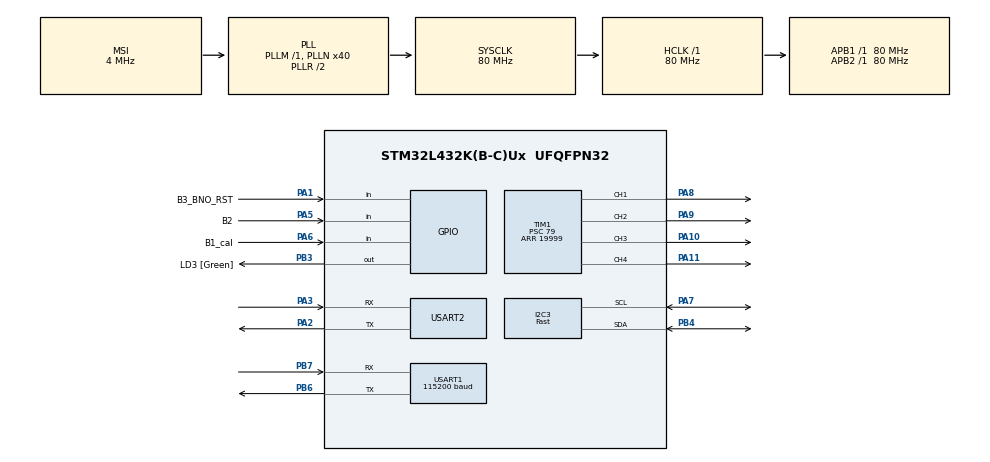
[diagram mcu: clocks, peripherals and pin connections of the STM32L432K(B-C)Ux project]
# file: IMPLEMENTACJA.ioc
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Dma.Request0=USART1_RX
Dma.USART1_RX.0.Direction=DMA_PERIPH_TO_MEMORY
Dma.USART1_RX.0.Instance=DMA1_Channel5
Dma.USART1_RX.0.MemDataAlignment=DMA_MDATAALIGN_BYTE
Dma.USART1_RX.0.MemInc=DMA_MINC_ENABLE
Dma.USART1_RX.0.Mode=DMA_CIRCULAR
Dma.USART1_RX.0.PeriphDataAlignment=DMA_PDATAALIGN_BYTE
Dma.USART1_RX.0.PeriphInc=DMA_PINC_DISABLE
Dma.USART1_RX.0.Priority=DMA_PRIORITY_HIGH
I2C3.I2C_Speed_Mode=I2C_Fast
I2C3.Timing=0x00F12981
Mcu.Family=STM32L4
Mcu.Name=STM32L432K(B-C)Ux
Mcu.Package=UFQFPN32
NVIC.DMA1_Channel5_IRQn=true\:0\:0\:false\:false\:true\:false\:true\:true
NVIC.PriorityGroup=NVIC_PRIORITYGROUP_4
NVIC.TIM6_DAC_IRQn=true\:0\:0\:false\:false\:true\:true\:true\:true
NVIC.USART1_IRQn=true\:0\:0\:false\:false\:true\:true\:true\:true
PA0.GPIO_Label=MCO [High speed clock in]
PA0.Mode=HSE-External-Clock-Source-for-LittleOrca
PA0.Signal=RCC_CK_IN
PA1.GPIO_Label=B3_BNO_RST
PA1.GPIO_PuPd=GPIO_PULLUP
PA1.Signal=GPIO_Input
PA10.Signal=S_TIM1_CH3
PA11.Signal=S_TIM1_CH4
PA13\ (JTMS-SWDIO).GPIO_Label=SWDIO
PA13\ (JTMS-SWDIO).Mode=Serial_Wire
PA13\ (JTMS-SWDIO).Signal=SYS_JTMS-SWDIO
PA14\ (JTCK-SWCLK).GPIO_Label=SWCLK
PA14\ (JTCK-SWCLK).Mode=Serial_Wire
PA14\ (JTCK-SWCLK).Signal=SYS_JTCK-SWCLK
PA2.Mode=Asynchronous
PA2.Signal=USART2_TX
PA3.Mode=Asynchronous
PA3.Signal=USART2_RX
PA5.GPIO_Label=B2
PA5.GPIO_PuPd=GPIO_PULLUP
PA5.Signal=GPIO_Input
PA6.GPIO_Label=B1_cal
PA6.GPIO_PuPd=GPIO_PULLUP
PA6.Signal=GPIO_Input
PA7.Mode=I2C
PA7.Signal=I2C3_SCL
PA8.Signal=S_TIM1_CH1
PA9.Signal=S_TIM1_CH2
PB3\ (JTDO-TRACESWO).GPIO_Label=LD3 [Green]
PB3\ (JTDO-TRACESWO).Signal=GPIO_Output
PB4\ (NJTRST).Mode=I2C
PB4\ (NJTRST).Signal=I2C3_SDA
PB6.Mode=Asynchronous
PB6.Signal=USART1_TX
PB7.Mode=Asynchronous
PB7.Signal=USART1_RX
PC14-OSC32_IN\ (PC14).Mode=LSE-External-Oscillator
PC14-OSC32_IN\ (PC14).Signal=RCC_OSC32_IN
PC15-OSC32_OUT\ (PC15).Mode=LSE-External-Oscillator
PC15-OSC32_OUT\ (PC15).Signal=RCC_OSC32_OUT
ProjectManager.HeapSize=0x200
ProjectManager.StackSize=0x400
ProjectManager.TargetToolchain=STM32CubeIDE
RCC.AHBFreq_Value=80000000
RCC.APB1Freq_Value=80000000
RCC.APB1TimFreq_Value=80000000
RCC.APB2Freq_Value=80000000
RCC.APB2TimFreq_Value=80000000
RCC.CortexFreq_Value=80000000
RCC.HCLKFreq_Value=80000000
RCC.HSE_VALUE=8000000
RCC.HSI16_VALUE=16000000
RCC.HSI48_VALUE=48000000
RCC.HSI_VALUE=16000000
RCC.MSI_VALUE=4000000
RCC.PLLMUL=RCC_PLLMUL_4
RCC.PLLN=40
RCC.SYSCLKFreq_VALUE=80000000
RCC.SYSCLKSource=RCC_SYSCLKSOURCE_PLLCLK
RCC.VCOOutputFreq_Value=160000000
SH.S_TIM1_CH1.0=TIM1_CH1,PWM Generation1 CH1
SH.S_TIM1_CH2.0=TIM1_CH2,PWM Generation2 CH2
SH.S_TIM1_CH3.0=TIM1_CH3,PWM Generation3 CH3
SH.S_TIM1_CH4.0=TIM1_CH4,PWM Generation4 CH4
TIM1.Channel-PWM\ Generation1\ CH1=TIM_CHANNEL_1
TIM1.Channel-PWM\ Generation2\ CH2=TIM_CHANNEL_2
TIM1.Channel-PWM\ Generation3\ CH3=TIM_CHANNEL_3
TIM1.Channel-PWM\ Generation4\ CH4=TIM_CHANNEL_4
TIM1.Period=19999
TIM1.Prescaler=79
TIM1.Pulse-PWM\ Generation1\ CH1=0
TIM1.Pulse-PWM\ Generation2\ CH2=0
TIM1.Pulse-PWM\ Generation3\ CH3=0
TIM6.AutoReloadPreload=TIM_AUTORELOAD_PRELOAD_ENABLE
TIM6.Period=49
TIM6.Prescaler=7999
USART1.BaudRate=115200
USART1.DataInvertParam=ADVFEATURE_DATAINV_DISABLE
USART1.Mode=MODE_RX
USART1.VirtualMode-Asynchronous=VM_ASYNC
USART2.VirtualMode-Asynchronous=VM_ASYNC
VP_TIM1_VS_ClockSourceINT.Mode=Internal
VP_TIM6_VS_ClockSourceINT.Mode=Enable_Timer
board=NUCLEO-L432KC

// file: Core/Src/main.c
/* USER CODE BEGIN Header */
/**
  ******************************************************************************
  * @file           : main.c
  * @brief          : Main program body
  ******************************************************************************
  * @attention
  *
  * Copyright (c) 2025 STMicroelectronics.
  * All rights reserved.
  *
  * This software is licensed under terms that can be found in the LICENSE file
  * in the root directory of this software component.
  * If no LICENSE file comes with this software, it is provided AS-IS.
  *
  ******************************************************************************
  */
/* USER CODE END Header */
#include "main.h"
#include "dma.h"
#include "i2c.h"
#include "tim.h"
#include "usart.h"
#include "gpio.h"

/* USER CODE BEGIN Includes */
#include "motors.h"
#include "ibus.h"
#include "bno055.h"
#include "pid.h"
#include "bno055_stm32.h"
#include <stdio.h>

extern UART_HandleTypeDef huart2;

/* USER CODE END Includes */

/* USER CODE BEGIN PTD */
typedef struct {
    uint16_t roll;
    uint16_t pitch;
    uint16_t throttle;
    uint16_t yaw;
    uint16_t arm;
    uint16_t mode;
} rc_t;
/* USER CODE END PTD */

/* USER CODE BEGIN PV */
volatile uint8_t control_loop_flag = 0; // flaga dla TIM6

volatile rc_t rc;

#define CTRL_DT 0.005f // dt dla pid

#define RC_DEADBAND      0.05f     // 5% drązla
#define MAX_ANGLE_DEG    25.0f     // roll/pitch max z pilota
#define MAX_YAW_RATE_DPS 120.0f    // yaw rate z pilota

// kontrolery pid dla obu osi
static PID_t pid_roll;
static PID_t pid_pitch;

// NASTAWY REGULATORA PID
volatile float dbg_Kp = 4.2;
volatile float dbg_Ki = 0.2;
volatile float dbg_Kd = 0.3;

/* USER CODE END PV */

void SystemClock_Config(void);

/* USER CODE BEGIN 0 */
//podstawowy clampf dla pilota
static inline float clampf(float x, float lo, float hi)
{
    if (x < lo) return lo;
    if (x > hi) return hi;
    return x;
}
// deadband dla pilota - male odchylenia drazka sa ignorowane
static inline float apply_deadband(float x, float db)
{
    if (x > -db && x < db) return 0.0f;
    //rescale po deadband
    if (x > 0) return (x - db) / (1.0f - db);
    else       return (x + db) / (1.0f - db);
}

//konwersja z us na -1..1
static inline float rc_us_to_norm(uint16_t us)
{
    float x = ((float)us - 1500.0f) / 500.0f;
    return clampf(x, -1.0f, 1.0f);
}
/* USER CODE END 0 */

int main(void)
{

  /* MCU Configuration--------------------------------------------------------*/

  /* Reset of all peripherals, Initializes the Flash interface and the Systick. */
  HAL_Init();

  /* Configure the system clock */
  SystemClock_Config();

  /* Initialize all configured peripherals */
  MX_GPIO_Init();
  MX_DMA_Init();
  MX_TIM1_Init();
  MX_TIM6_Init();
  MX_USART1_UART_Init();
  MX_I2C3_Init();
  MX_USART2_UART_Init();
  /* USER CODE BEGIN 2 */
  HAL_TIM_Base_Start_IT(&htim6);
  ibus_init();
  bno055_assignI2C(&hi2c3);

  bno055_setup();                 // reset + config
  bno055_setOperationModeNDOF();  // fuzja sensorów - w razie czegho mozna sprawdzac tryb IMU gdzie wylaczamy magnetometr
  bno055_enableExternalCrystal(); // zewn zegar

  // PID startowe nastawy
  PID_Init(&pid_roll,  dbg_Kp, dbg_Ki, dbg_Kd,  -300.0f, 300.0f,  -150.0f, 150.0f);
  PID_Init(&pid_pitch, dbg_Kp, dbg_Ki, dbg_Kd,  -300.0f, 300.0f,  -150.0f, 150.0f);

//  HAL_Delay(2000);
  HAL_TIM_PWM_Start(&htim1, TIM_CHANNEL_1);
  HAL_TIM_PWM_Start(&htim1, TIM_CHANNEL_2);
  HAL_TIM_PWM_Start(&htim1, TIM_CHANNEL_3);
  HAL_TIM_PWM_Start(&htim1, TIM_CHANNEL_4);

  // Jeśli trzymasz przycisk przy starcie -> kalibracja ESC
  // B1 TO JEST A5 NA STM
  if (HAL_GPIO_ReadPin(B1_cal_GPIO_Port, B1_cal_Pin) == GPIO_PIN_RESET)
  {
  	  HAL_Delay(4000);

      esc_calibrate_all();

      // po kalibracji program zatrzymany zeby odłączyć zasilanie
      while (1)
      {
          HAL_GPIO_TogglePin(LD3_GPIO_Port, LD3_Pin);
          HAL_Delay(50);
      }
  }

  // WAIT NA PILOTA (iBUS)
  uint16_t last_ndtr = ibus_dma_ndtr();
  uint32_t t0 = HAL_GetTick();

  while (!ibus_is_signal_present())
  {
    ibus_process();

    // co 200ms mignij LED
    if (HAL_GetTick() - t0 > 2000)
    {
      t0 = HAL_GetTick();
      HAL_GPIO_TogglePin(LD3_GPIO_Port, LD3_Pin);

      uint16_t now = ibus_dma_ndtr();

      // jeśli NDTR się NIE zmienia -> UART/DMA nie dostaje żadnych bajtów
      // jeśli NDTR się zmienia, a frames_ok nadal 0 -> winny jest parser
      last_ndtr = now;
    }
  }

  motors_arm();

  /* USER CODE END 2 */

  /* Infinite loop */
  /* USER CODE BEGIN WHILE */

  //wektory z bno
  bno055_vector_t euler;
  bno055_calibration_state_t cal;

  static uint16_t led_counter = 0;

  static float last_Kp = 0.0f, last_Ki = 0.0f, last_Kd = 0.0f;

  while (1)
  {
      // czeka na flagę z TIM6 co 200hz
      if (!control_loop_flag)
          continue;

      control_loop_flag = 0;

      // mruganie led co 1s
      led_counter++;
      if (led_counter >= 200)
      {
          led_counter = 0;
          HAL_GPIO_TogglePin(LD3_GPIO_Port, LD3_Pin);
      }

      // iBUS to info tylko do debugowania - w pozniej mozna usuwac zeby zaoszczedzic czas petli glownej
      ibus_process();

      rc.roll     = ibus_read_channel(0);
      rc.pitch    = ibus_read_channel(1);
      rc.throttle = ibus_read_channel(2);
      rc.yaw      = ibus_read_channel(3);
      rc.arm      = ibus_read_channel(4);
      rc.mode     = ibus_read_channel(5);

      uint16_t throttle_us = rc.throttle;

      // IMU
      euler = bno055_getVectorEuler();  // katy eulera z bno - wycylenia
      cal   = bno055_getCalibrationState();   // tylko do debug

      float roll_meas  = (float)euler.y;     // ROLL
      float pitch_meas = -(float)euler.z;    // PITCH (odwrócona oś)
      // float yaw_meas = (float)euler.x;    // YAW (nie używamy)

      // Bezpieczenstwo: niski gaz
      if (throttle_us < 1050)
      {
          PID_Reset(&pid_roll);
          PID_Reset(&pid_pitch);

          mixer_update(0.0f, 0.0f, 0.0f, 1000);
          continue;
      }

      // Setpointy z pilota
      float roll_in  = rc_us_to_norm(rc.roll);
      float pitch_in = rc_us_to_norm(rc.pitch);
      float yaw_in   = rc_us_to_norm(rc.yaw);

      // deadband
      roll_in  = apply_deadband(roll_in,  RC_DEADBAND);
      pitch_in = apply_deadband(pitch_in, RC_DEADBAND);
      yaw_in   = apply_deadband(yaw_in,   RC_DEADBAND);

      // ANGLE MODE dla roll/pitch
      float roll_sp  = roll_in  * MAX_ANGLE_DEG;
      float pitch_sp = pitch_in * MAX_ANGLE_DEG;

      // YAW jako RATE MODE
      float yaw_rate_sp = yaw_in * MAX_YAW_RATE_DPS;

      // LIVE TUNING: podmiana nastaw PID z debuggera
      pid_roll.kp  = dbg_Kp;
      pid_roll.ki  = dbg_Ki;
      pid_roll.kd  = dbg_Kd;

      pid_pitch.kp = dbg_Kp;
      pid_pitch.ki = dbg_Ki;
      pid_pitch.kd = dbg_Kd;

      // do debugowania - jesli zmienilismy nastawy PID -> reset integratora
      if (dbg_Kp != last_Kp || dbg_Ki != last_Ki || dbg_Kd != last_Kd)
      {
          PID_Reset(&pid_roll);
          PID_Reset(&pid_pitch);
          last_Kp = dbg_Kp;
          last_Ki = dbg_Ki;
          last_Kd = dbg_Kd;
      }

      // tez DEBUGGING - SERIAL PORT - mozna usunac w przyszlosci zeby przyspieszyc
      static uint8_t uart_div = 0;

      uart_div++;
      if (uart_div >= 20) // 200Hz / 20 = 10Hz
      {
          uart_div = 0;
          printf("ROLL=%.2f  PITCH=%.2f\r\n", roll_meas, pitch_meas);
          printf("roll out_min=%.2f  out_max=%.2f\r\n", (double)pid_roll.out_min, (double)pid_roll.out_max);
          printf("pitch out_min=%.2f out_max=%.2f\r\n", (double)pid_pitch.out_min, (double)pid_pitch.out_max);

      }

      // PID (dt = 0.005s dla TIM6 = 200Hz)
      float u_roll  = PID_Update(&pid_roll,  roll_sp,  roll_meas,  CTRL_DT);
      float u_pitch = PID_Update(&pid_pitch, pitch_sp, pitch_meas, CTRL_DT);
      float u_yaw   = yaw_rate_sp;   // YAW bez pida poki co

      // Mixer - push do silników
      mixer_update(u_roll, u_pitch, u_yaw, throttle_us);
  }
    /* USER CODE END WHILE */

}

void SystemClock_Config(void)
{
  RCC_OscInitTypeDef RCC_OscInitStruct = {0};
  RCC_ClkInitTypeDef RCC_ClkInitStruct = {0};

  /** Configure the main internal regulator output voltage
  */
  if (HAL_PWREx_ControlVoltageScaling(PWR_REGULATOR_VOLTAGE_SCALE1) != HAL_OK)
  {
    Error_Handler();
  }

  /** Configure LSE Drive Capability
  */
  HAL_PWR_EnableBkUpAccess();
  __HAL_RCC_LSEDRIVE_CONFIG(RCC_LSEDRIVE_LOW);

  /** Initializes the RCC Oscillators according to the specified parameters
  * in the RCC_OscInitTypeDef structure.
  */
  RCC_OscInitStruct.OscillatorType = RCC_OSCILLATORTYPE_LSE|RCC_OSCILLATORTYPE_MSI;
  RCC_OscInitStruct.LSEState = RCC_LSE_ON;
  RCC_OscInitStruct.MSIState = RCC_MSI_ON;
  RCC_OscInitStruct.MSICalibrationValue = 0;
  RCC_OscInitStruct.MSIClockRange = RCC_MSIRANGE_6;
  RCC_OscInitStruct.PLL.PLLState = RCC_PLL_ON;
  RCC_OscInitStruct.PLL.PLLSource = RCC_PLLSOURCE_MSI;
  RCC_OscInitStruct.PLL.PLLM = 1;
  RCC_OscInitStruct.PLL.PLLN = 40;
  RCC_OscInitStruct.PLL.PLLP = RCC_PLLP_DIV7;
  RCC_OscInitStruct.PLL.PLLQ = RCC_PLLQ_DIV2;
  RCC_OscInitStruct.PLL.PLLR = RCC_PLLR_DIV2;
  if (HAL_RCC_OscConfig(&RCC_OscInitStruct) != HAL_OK)
  {
    Error_Handler();
  }

  /** Initializes the CPU, AHB and APB buses clocks
  */
  RCC_ClkInitStruct.ClockType = RCC_CLOCKTYPE_HCLK|RCC_CLOCKTYPE_SYSCLK
                              |RCC_CLOCKTYPE_PCLK1|RCC_CLOCKTYPE_PCLK2;
  RCC_ClkInitStruct.SYSCLKSource = RCC_SYSCLKSOURCE_PLLCLK;
  RCC_ClkInitStruct.AHBCLKDivider = RCC_SYSCLK_DIV1;
  RCC_ClkInitStruct.APB1CLKDivider = RCC_HCLK_DIV1;
  RCC_ClkInitStruct.APB2CLKDivider = RCC_HCLK_DIV1;

  if (HAL_RCC_ClockConfig(&RCC_ClkInitStruct, FLASH_LATENCY_4) != HAL_OK)
  {
    Error_Handler();
  }

  /** Enable MSI Auto calibration
  */
  HAL_RCCEx_EnableMSIPLLMode();
}

/* USER CODE BEGIN 4 */
void HAL_TIM_PeriodElapsedCallback(TIM_HandleTypeDef *htim)
{
    if (htim->Instance == TIM6)
    {
        control_loop_flag = 1;   // flaga dla pętli głównej
    }
}

// obsluga uart2 - odczyt na serial porcie
int _write(int file, char *ptr, int len)
{
    HAL_UART_Transmit(&huart2, (uint8_t*)ptr, len, HAL_MAX_DELAY);
    return len;
}

/* USER CODE END 4 */

void Error_Handler(void)
{
  __disable_irq();
  while (1)
  {
  }
}
